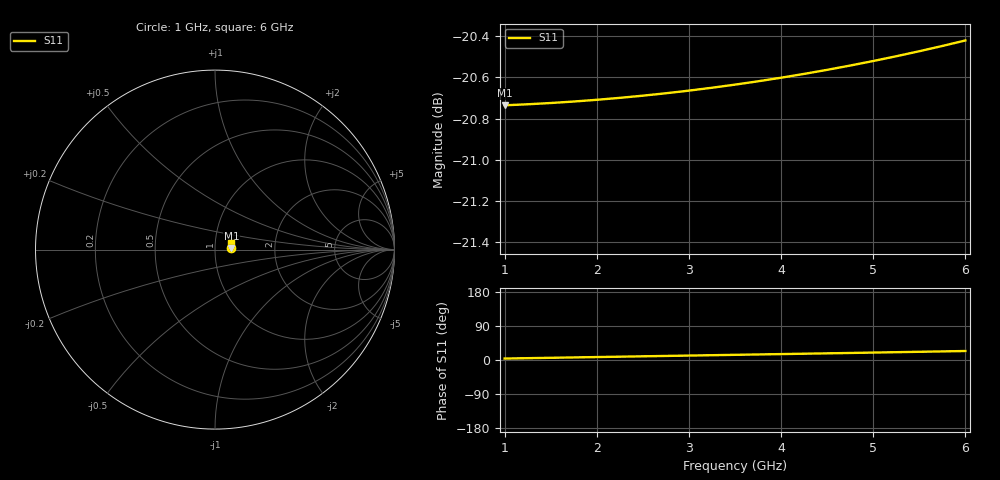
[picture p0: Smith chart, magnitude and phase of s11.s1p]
! openEMS, diamant_uwb; voir simulation_manifest.json
# Hz S RI R 50
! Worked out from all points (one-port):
!   201 points, 1 GHz to 6 GHz, reference 50 ohm
!   lowest |S11| = -20.7 dB at 1 GHz (marker M1), VSWR 1.20, Z = 60.1 + j0.745 ohm
!   |S11| at or under -10 dB: start of sweep to end of sweep
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1e9  0.0917 0.00615
1.175e9  0.0916 0.00723
1.325e9  0.0916 0.00815
1.625e9  0.0915 0.01
1.8e9  0.0914 0.0111
1.95e9  0.0914 0.012
2.25e9  0.0912 0.0139
2.425e9  0.0911 0.015
2.575e9  0.091 0.0159
2.875e9  0.0908 0.0178
3.05e9  0.0907 0.0189
3.2e9  0.0906 0.0199
3.5e9  0.0904 0.0218
3.675e9  0.0902 0.0229
3.825e9  0.0901 0.0239
4.125e9  0.0898 0.0258
4.3e9  0.0896 0.0269
4.45e9  0.0894 0.0279
4.6e9  0.0893 0.0289
4.75e9  0.0891 0.0299
4.925e9  0.0888 0.031
5.075e9  0.0886 0.032
5.225e9  0.0884 0.0331
5.375e9  0.0882 0.0341
5.55e9  0.088 0.0352
5.7e9  0.0877 0.0363
5.85e9  0.0875 0.0373
6e9  0.0872 0.0383
